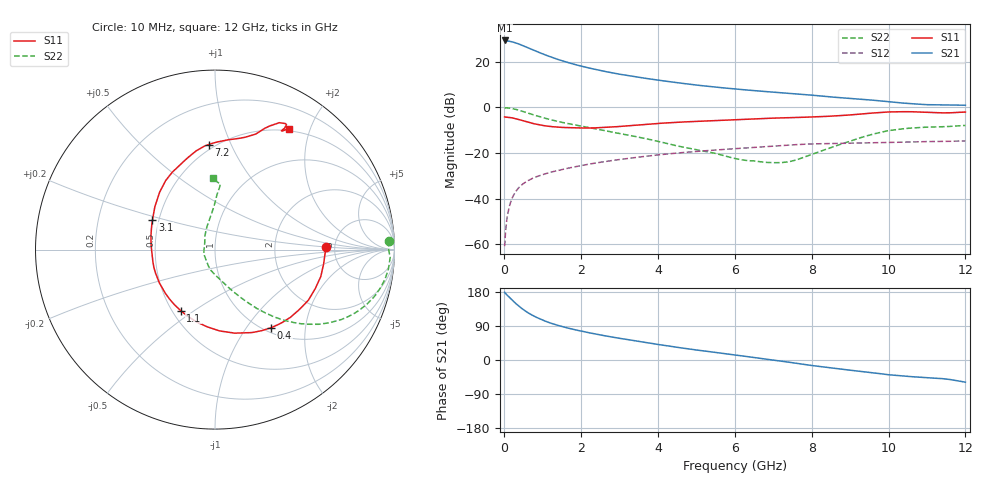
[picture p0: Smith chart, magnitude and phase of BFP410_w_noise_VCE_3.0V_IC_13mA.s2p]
! Infineon Technologies  Discrete & RF Semiconductors
! BFP410
! VCE =  3.0 V,  IC =  13 mA
! Common Emitter S-Parameters:  Nov 2015
# GHz  S  MA  R  50
!  f  S11  S21  S12  S22
! GHz  MAG  ANG  MAG  ANG  MAG  ANG  MAG  ANG
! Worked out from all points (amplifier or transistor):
!   243 points, 10 MHz to 12 GHz, reference 50 ohm
!   highest |S21| = 29.4 dB at 10 MHz (marker M1)
!   |S21| within 3 dB of that: start of sweep to 587.7 MHz
!   unconditionally stable (mu >= 1): 2.204 GHz to end of sweep
!   at 240 MHz: K = 0.21, MSG = 33.6 dB, |S12| = -38.6 dB
!   at 1.84 GHz: K = 0.91, MSG = 22.4 dB, |S12| = -26.1 dB
!   at 12 GHz: K = 1.03, MAG = 6.7 dB, |S12| = -14.7 dB
!   lowest NFmin = 1.42 dB at 900 MHz
!   S11 on the Smith chart (normalised r, x): 10 MHz: 4.23, +0.16; 400 MHz: 1.08, -1.32; 1.1 GHz: 0.55, -0.44; 3.1 GHz: 0.46, +0.18; 7.2 GHz: 0.46, +0.83; 12 GHz: 0.47, +1.68
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0.01  0.618 1.1  29.4 178.9  0.0009 96.8  0.9679 2.9
0.02  0.6138 -1.9  29.16 177.1  0.0012 91.4  0.9681 -0.2
0.05  0.6111 -6.8  28.81 173.8  0.0026 87.3  0.977 -2.6
0.1  0.6083 -14.2  28.58 168.9  0.0051 82.7  0.972 -6.5
0.2  0.5917 -28.4  27.48 158.7  0.0099 77.7  0.945 -13.2
0.3  0.5647 -41.9  25.97 149.1  0.0142 73.2  0.9038 -19.2
0.4  0.5361 -54.2  24.21 140.4  0.018 69.0  0.8557 -24.4
0.5  0.5061 -66.0  22.4 132.7  0.0213 65.6  0.8054 -28.9
0.6  0.4783 -76.7  20.61 125.7  0.0242 62.9  0.7568 -32.6
0.7  0.4539 -86.7  18.99 119.8  0.0268 60.8  0.7113 -35.8
0.9  0.4159 -104.3  16.14 109.5  0.0314 57.8  0.6321 -40.8
1.1  0.3901 -119.5  13.83 101.3  0.0355 55.9  0.5665 -44.7
1.46  0.3649 -141.9  10.84 89.6  0.0424 53.7  0.478 -49.8
2.02  0.3527 -168.3  7.969 75.9  0.0531 50.9  0.3864 -55.5
2.6  0.3635 169.4  6.189 64.2  0.0642 47.4  0.3102 -61.1
3.1  0.3852 154.7  5.182 55.7  0.0735 44.2  0.2577 -66.2
4.1  0.4494 132.1  3.858 39.6  0.0923 37.0  0.1718 -79.6
6.1  0.5391 105.2  2.492 11.9  0.1256 21.1  0.0727 -136.2
7.2  0.5864 93.4  2.096 -2.9  0.1451 11.6  0.0613 166.5
8.2  0.6246 80.4  1.787 -17.0  0.159 0.9  0.1069 119.6
10.2  0.7984 61.9  1.284 -40.6  0.1707 -15.1  0.3247 86.9
12  0.7903 58.6  1.114 -58.5  0.1836 -30.5  0.4018 91.9
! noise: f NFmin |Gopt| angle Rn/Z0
0.45  1.45  0.03  -118  0.16
0.9  1.42  0.02  -123  0.16
1.8  1.53  0.08  -148  0.16
2.4  1.53  0.14  -128  0.21
5.5  2.4  0.38  -109  0.32
10  3.52  0.68  -48  2.04
